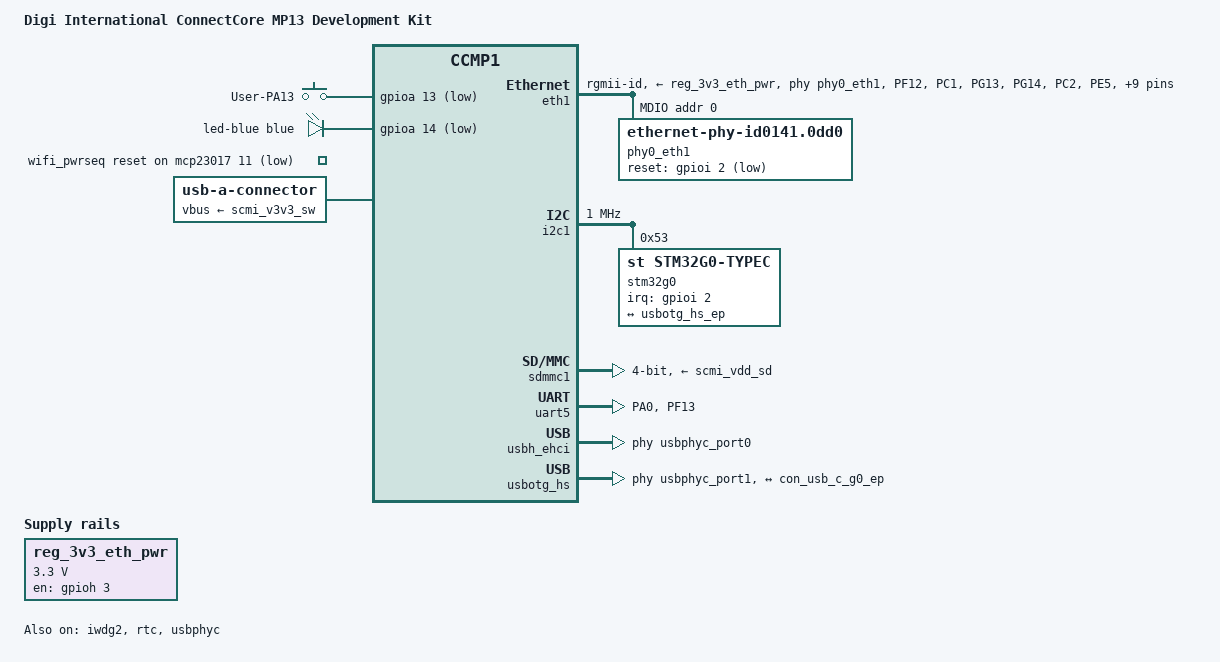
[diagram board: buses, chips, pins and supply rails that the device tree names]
// SPDX-License-Identifier: (GPL-2.0+ OR BSD-3-Clause)
/*
 * Copyright (C) 2022, Digi International Inc - All Rights Reserved
 */

/dts-v1/;

#include <dt-bindings/gpio/gpio.h>
#include <dt-bindings/input/input.h>
#include <dt-bindings/leds/common.h>
#include <dt-bindings/rtc/rtc-stm32.h>
#include "ccmp13.dtsi"

/ {
	model = "Digi International ConnectCore MP13 Development Kit";
	compatible = "digi,ccmp13-dvk", "digi,ccmp13", "digi,ccmp1";

	aliases {
		ethernet0 = &eth1;
		ethernet1 = &eth2;
		serial0 = &uart5;
	};

	chosen {
		#address-cells = <1>;
		#size-cells = <1>;
		ranges;
		stdout-path = "serial0:115200n8";
	};

	regulators {
		compatible = "simple-bus";
		#address-cells = <1>;
		#size-cells = <0>;

		reg_3v3_eth_pwr: regulator@1 {
			compatible = "regulator-fixed";
			reg = <1>;
			regulator-name = "3v3_eth_pwr";
			regulator-min-microvolt = <3300000>;
			regulator-max-microvolt = <3300000>;
			regulator-always-on;
			gpio = <&gpioh 3 GPIO_ACTIVE_HIGH>;
			enable-active-high;
			status = "okay";
		};
	};

	gpio-keys {
		compatible = "gpio-keys";

		user-pa13 {
			label = "User-PA13";
			linux,code = <BTN_1>;
			gpios = <&gpioa 13 (GPIO_ACTIVE_LOW | GPIO_PULL_UP)>;
		};
	};

	leds {
		compatible = "gpio-leds";

		led-blue {
			function = LED_FUNCTION_HEARTBEAT;
			color = <LED_COLOR_ID_BLUE>;
			gpios = <&gpioa 14 GPIO_ACTIVE_LOW>;
			linux,default-trigger = "heartbeat";
			default-state = "off";
		};
	};

	wifi_pwrseq: wifi-pwrseq {
		compatible = "mmc-pwrseq-simple";
		reset-gpios = <&mcp23017 11 GPIO_ACTIVE_LOW>;
	};
};

/* 10/100/1000 Ethernet */
&eth1 {
	status = "okay";
	pinctrl-0 = <&ccmp13_eth1_rgmii_pins>;
	pinctrl-1 = <&ccmp13_eth1_rgmii_sleep_pins>;
	pinctrl-names = "default", "sleep";
	phy-mode = "rgmii-id";
	max-speed = <1000>;
	phy-handle = <&phy0_eth1>;
	phy-supply = <&reg_3v3_eth_pwr>;

	mdio1 {
		#address-cells = <1>;
		#size-cells = <0>;
		compatible = "snps,dwmac-mdio";

		phy0_eth1: ethernet-phy@0 {
			reg = <0>;
			compatible = "ethernet-phy-id0141.0dd0"; /* PHY ID for Marvell 88E1512 */
			reset-gpios = <&gpioi 2 (GPIO_ACTIVE_LOW | GPIO_PULL_UP)>;
			reset-assert-us = <1000>;
			reset-deassert-us = <2000>;
		};
	};
};

/* 10/100 Ethernet */
&eth2 {
	status = "disabled";
	pinctrl-0 = <&ccmp13_eth2_rmii_pins>;
	pinctrl-1 = <&ccmp13_eth2_rmii_sleep_pins>;
	pinctrl-names = "default", "sleep";
	phy-mode = "rmii";
	max-speed = <100>;
	phy-handle = <&phy0_eth2>;
	st,ext-phyclk;
	phy-supply = <&reg_3v3_eth_pwr>;

	mdio1 {
		#address-cells = <1>;
		#size-cells = <0>;
		compatible = "snps,dwmac-mdio";

		phy0_eth2: ethernet-phy@0 {
			reg = <0>;
			compatible = "ethernet-phy-id0007.c0f0"; /* PHY ID for SMSC LAN8720Ai */
			reset-gpios = <&gpioi 2 (GPIO_ACTIVE_LOW | GPIO_PULL_UP)>;
		};
	};
};

&i2c1 {
	pinctrl-names = "default", "sleep";
	pinctrl-0 = <&i2c1_pins_a>;
	pinctrl-1 = <&i2c1_sleep_pins_a>;
	i2c-scl-rising-time-ns = <96>;
	i2c-scl-falling-time-ns = <3>;
	clock-frequency = <1000000>;
	status = "okay";
	/* spare dmas for other usage */
	/delete-property/dmas;
	/delete-property/dma-names;

	mcp23017: pinctrl@21 {
		compatible = "microchip,mcp23017";
		reg = <0x21>;
		gpio-controller;
		#gpio-cells = <2>;
		interrupts = <12 IRQ_TYPE_LEVEL_LOW>;
		interrupt-parent = <&gpiog>;
		pinctrl-names = "default";
		pinctrl-0 = <&mcp23017_pins_a>;
		interrupt-controller;
		#interrupt-cells = <2>;
		microchip,irq-mirror;
	};

	stm32g0@53 {
		compatible = "st,stm32g0-typec";
		reg = <0x53>;
		/* Alert pin on PI2 */
		interrupts = <2 IRQ_TYPE_EDGE_FALLING>;
		interrupt-parent = <&gpioi>;
		/* Internal pull-up on PI2 */
		pinctrl-names = "default";
		pinctrl-0 = <&stm32g0_intn_pins_a>;
		firmware-name = "stm32g0-ucsi.mp135f-dk.fw";
		power-domains = <&pd_core>;
		wakeup-source;
		connector {
			compatible = "usb-c-connector";
			label = "USB-C";

			port {
				con_usb_c_g0_ep: endpoint {
					remote-endpoint = <&usbotg_hs_ep>;
				};
			};
		};
	};
};

&i2c5 {
	pinctrl-names = "default", "sleep";
	pinctrl-0 = <&i2c5_pins_a>;
	pinctrl-1 = <&i2c5_sleep_pins_a>;
	i2c-scl-rising-time-ns = <170>;
	i2c-scl-falling-time-ns = <5>;
	clock-frequency = <400000>;
	status = "disabled";
	/* spare dmas for other usage */
	/delete-property/dmas;
	/delete-property/dma-names;
};

&iwdg2 {
	timeout-sec = <32>;
	status = "okay";
};


&rtc {
	st,lsco = <RTC_OUT2_RMP>;
	pinctrl-0 = <&rtc_out2_rmp_pins_a>;
	pinctrl-names = "default";
	status = "okay";
};

&scmi_regu {
	scmi_vddcpu: voltd-vddcpu {
		voltd-name = "vddcpu";
		regulator-name = "vddcpu";
	};
	scmi_vdd: voltd-vdd {
		voltd-name = "vdd";
		regulator-name = "vdd";
	};
	scmi_vddcore: voltd-vddcore {
		voltd-name = "vddcore";
		regulator-name = "vddcore";
	};
	scmi_vdd_adc: voltd-vdd_adc {
		voltd-name = "vdd_adc";
		regulator-name = "vdd_adc";
	};
	scmi_vdd_usb: voltd-vdd_usb {
		voltd-name = "vdd_usb";
		regulator-name = "vdd_usb";
	};
	scmi_vdd_sd: voltd-vdd_sd {
		voltd-name = "vdd_sd";
		regulator-name = "vdd_sd";
	};
	scmi_v1v8_periph: voltd-v1v8_periph {
		voltd-name = "v1v8_periph";
		regulator-name = "v1v8_periph";
	};
	scmi_v3v3_sw: voltd-v3v3_sw {
		voltd-name = "v3v3_sw";
		regulator-name = "v3v3_sw";
	};
};

&sdmmc1 {
	pinctrl-names = "default", "opendrain", "sleep";
	pinctrl-0 = <&sdmmc1_b4_pins_a &sdmmc1_clk_pins_a>;
	pinctrl-1 = <&sdmmc1_b4_od_pins_a &sdmmc1_clk_pins_a>;
	pinctrl-2 = <&sdmmc1_b4_sleep_pins_a>;
	broken-cd;
	disable-wp;
	st,neg-edge;
	bus-width = <4>;
	vmmc-supply = <&scmi_vdd_sd>;
	status = "okay";
};

&spi5 {
	pinctrl-names = "default", "sleep";
	pinctrl-0 = <&spi5_pins_a>;
	pinctrl-1 = <&spi5_sleep_pins_a>;
	status = "disabled";
};

&timers3 {
	/delete-property/dmas;
	/delete-property/dma-names;
	status = "disabled";
	pwm {
		pinctrl-0 = <&pwm3_pins_a>;
		pinctrl-1 = <&pwm3_sleep_pins_a>;
		pinctrl-names = "default", "sleep";
		status = "okay";
	};
	timer@2 {
		status = "okay";
	};
};

&timers4 {
	/delete-property/dmas;
	/delete-property/dma-names;
	status = "disabled";
	pwm {
		pinctrl-0 = <&pwm4_pins_a>;
		pinctrl-1 = <&pwm4_sleep_pins_a>;
		pinctrl-names = "default", "sleep";
		status = "okay";
	};
	timer@3 {
		status = "okay";
	};
};

&timers8 {
	/delete-property/dmas;
	/delete-property/dma-names;
	status = "disabled";
	pwm {
		pinctrl-0 = <&pwm8_pins_a>;
		pinctrl-1 = <&pwm8_sleep_pins_a>;
		pinctrl-names = "default", "sleep";
		status = "okay";
	};
	timer@7 {
		status = "okay";
	};
};

&timers14 {
	status = "disabled";
	pwm {
		pinctrl-0 = <&pwm14_pins_a>;
		pinctrl-1 = <&pwm14_sleep_pins_a>;
		pinctrl-names = "default", "sleep";
		status = "okay";
	};
	timer@13 {
		status = "okay";
	};
};

/* Console on UART5 */
&uart5 {
	pinctrl-names = "default", "sleep", "idle";
	pinctrl-0 = <&uart5_pins_a>;
	pinctrl-1 = <&uart5_sleep_pins_a>;
	pinctrl-2 = <&uart5_idle_pins_a>;
	/delete-property/dmas;
	/delete-property/dma-names;
	status = "okay";
};

&usbh_ehci {
	phys = <&usbphyc_port0>;
	status = "okay";
};

&usbotg_hs {
	phys = <&usbphyc_port1 0>;
	phy-names = "usb2-phy";
	usb-role-switch;
	status = "okay";
	port {
		usbotg_hs_ep: endpoint {
			remote-endpoint = <&con_usb_c_g0_ep>;
		};
	};
};

&usbphyc {
	status = "okay";
};

&usbphyc_port0 {
	phy-supply = <&scmi_vdd_usb>;
	st,current-boost-microamp = <1000>;
	st,decrease-hs-slew-rate;
	st,tune-hs-dc-level = <2>;
	st,enable-hs-rftime-reduction;
	st,trim-hs-current = <11>;
	st,trim-hs-impedance = <2>;
	st,tune-squelch-level = <1>;
	st,enable-hs-rx-gain-eq;
	st,no-hs-ftime-ctrl;
	st,no-lsfs-sc;

	/*
	 * Hack to keep hub active if wakeup source is enabled
	 * otherwise the hub will wakeup the port0 as soon as the v3v3_sw is disabled
	 */
	connector {
		compatible = "usb-a-connector";
		vbus-supply = <&scmi_v3v3_sw>;
	};
};

&usbphyc_port1 {
	phy-supply = <&scmi_vdd_usb>;
	st,current-boost-microamp = <1000>;
	st,decrease-hs-slew-rate;
	st,tune-hs-dc-level = <2>;
	st,enable-hs-rftime-reduction;
	st,trim-hs-current = <11>;
	st,trim-hs-impedance = <2>;
	st,tune-squelch-level = <1>;
	st,enable-hs-rx-gain-eq;
	st,no-hs-ftime-ctrl;
	st,no-lsfs-sc;
};

&pinctrl {
	ccmp13_eth1_rgmii_pins: ccmp13-eth1-rgmii-1 {
		pins1 {
			pinmux = <STM32_PINMUX('F', 12, AF11)>, /* ETH1_CLK125 */
				 <STM32_PINMUX('C', 1,  AF11)>, /* ETH1_GTX_CLK */
				 <STM32_PINMUX('G', 13, AF11)>, /* ETH1_TXD0 */
				 <STM32_PINMUX('G', 14, AF11)>, /* ETH1_TXD1 */
				 <STM32_PINMUX('C', 2,  AF11)>, /* ETH1_TXD2 */
				 <STM32_PINMUX('E', 5,  AF10)>, /* ETH1_TXD3 */
				 <STM32_PINMUX('B', 11, AF11)>, /* ETH1_TX_EN */
				 <STM32_PINMUX('G', 2,  AF11)>; /* ETH1_MDC */
			bias-disable;
			drive-push-pull;
			slew-rate = <2>;
		};
		pins2 {
			pinmux = <STM32_PINMUX('A', 2, AF11)>; /* ETH1_MDIO */
			bias-disable;
			drive-push-pull;
			slew-rate = <0>;
		};
		pins3 {
			pinmux = <STM32_PINMUX('C', 4, AF11)>, /* ETH1_RXD0 */
				 <STM32_PINMUX('C', 5, AF11)>, /* ETH1_RXD1 */
				 <STM32_PINMUX('B', 0, AF11)>, /* ETH1_RXD2 */
				 <STM32_PINMUX('B', 1, AF11)>, /* ETH1_RXD3 */
				 <STM32_PINMUX('D', 7, AF10)>, /* ETH1_REF_CLK */
				 <STM32_PINMUX('A', 7, AF11)>; /* ETH1_RX_DV */
			bias-disable;
		};
	};

	ccmp13_eth1_rgmii_sleep_pins: ccmp13-eth1-rgmii-sleep-1 {
		pins1 {
			pinmux = <STM32_PINMUX('F', 12, ANALOG)>, /* ETH1_CLK125 */
				 <STM32_PINMUX('C', 1,  ANALOG)>, /* ETH1_GTX_CLK */
				 <STM32_PINMUX('G', 13, ANALOG)>, /* ETH1_TXD0 */
				 <STM32_PINMUX('G', 14, ANALOG)>, /* ETH1_TXD1 */
				 <STM32_PINMUX('C', 2,  ANALOG)>, /* ETH1_TXD2 */
				 <STM32_PINMUX('E', 5,  ANALOG)>, /* ETH1_TXD3 */
				 <STM32_PINMUX('B', 11, ANALOG)>, /* ETH1_TX_EN */
				 <STM32_PINMUX('G', 2,  ANALOG)>, /* ETH1_MDC */
				 <STM32_PINMUX('A', 2,  ANALOG)>, /* ETH1_MDIO */
				 <STM32_PINMUX('C', 4,  ANALOG)>, /* ETH1_RXD0 */
				 <STM32_PINMUX('C', 5,  ANALOG)>, /* ETH1_RXD1 */
				 <STM32_PINMUX('B', 0,  ANALOG)>, /* ETH1_RXD2 */
				 <STM32_PINMUX('B', 1,  ANALOG)>, /* ETH1_RXD3 */
				 <STM32_PINMUX('D', 7,  ANALOG)>, /* ETH1_REF_CLK */
				 <STM32_PINMUX('A', 7,  ANALOG)>; /* ETH1_RX_DV */
		 };
	};

	ccmp13_eth2_rmii_pins: ccmp13-eth2-rmii-1 {
		pins1 {
			pinmux = <STM32_PINMUX('F', 7,  AF11)>, /* ETH2_TXD0 */
				 <STM32_PINMUX('G', 11, AF10)>, /* ETH2_TXD1 */
				 <STM32_PINMUX('H', 11, AF11)>, /* ETH2_REF_CLK */
				 <STM32_PINMUX('F', 6,  AF11)>, /* ETH2_TX_EN */
				 <STM32_PINMUX('B', 2,  AF11)>, /* ETH2_MDIO */
				 <STM32_PINMUX('G', 5,  AF10)>; /* ETH2_MDC */
			bias-disable;
			drive-push-pull;
			slew-rate = <1>;
		};

		pins2 {
			pinmux = <STM32_PINMUX('F', 4,  AF11)>, /* ETH2_RXD0 */
				 <STM32_PINMUX('E', 2,  AF10)>, /* ETH2_RXD1 */
				 <STM32_PINMUX('A', 12, AF11)>; /* ETH2_RX_DV */
			bias-disable;
		};
	};

	ccmp13_eth2_rmii_sleep_pins: ccmp13-eth2-rmii-sleep-1 {
		pins1 {
			pinmux = <STM32_PINMUX('F', 7,  ANALOG)>, /* ETH2_TXD0 */
				 <STM32_PINMUX('G', 11, ANALOG)>, /* ETH2_TXD1 */
				 <STM32_PINMUX('H', 11, ANALOG)>, /* ETH2_REF_CLK */
				 <STM32_PINMUX('F', 6,  ANALOG)>, /* ETH2_TX_EN */
				 <STM32_PINMUX('B', 2,  ANALOG)>, /* ETH2_MDIO */
				 <STM32_PINMUX('G', 5,  ANALOG)>, /* ETH2_MDC */
				 <STM32_PINMUX('F', 4,  ANALOG)>, /* ETH2_RXD0 */
				 <STM32_PINMUX('E', 2,  ANALOG)>, /* ETH2_RXD1 */
				 <STM32_PINMUX('A', 12, ANALOG)>; /* ETH2_RX_DV */
		};
	};

	uart5_pins_a: uart5-0 {
		pins1 {
			pinmux = <STM32_PINMUX('A', 0, AF8)>; /* UART5_TX */
			bias-disable;
			drive-push-pull;
			slew-rate = <0>;
		};
		pins2 {
			pinmux = <STM32_PINMUX('F', 13, AF8)>; /* UART5_RX */
			bias-disable;
		};
	};

	uart5_idle_pins_a: uart5-idle-0 {
		pins1 {
			pinmux = <STM32_PINMUX('A', 0, ANALOG)>; /* UART5_TX */
		};
		pins2 {
			pinmux = <STM32_PINMUX('F', 13, AF8)>; /* UART5_RX */
			bias-disable;
		};
	};

	uart5_sleep_pins_a: uart5-sleep-0 {
		pins {
			pinmux = <STM32_PINMUX('A', 0, ANALOG)>, /* UART5_TX */
				 <STM32_PINMUX('F', 13, ANALOG)>; /* UART5_RX */
		};
	};
};
